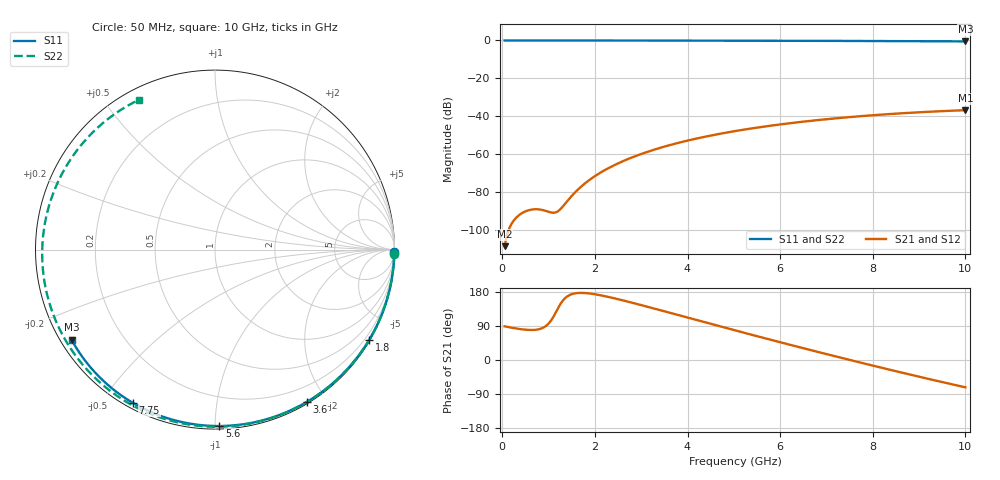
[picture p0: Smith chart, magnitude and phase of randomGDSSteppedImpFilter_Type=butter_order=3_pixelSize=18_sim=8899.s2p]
! freq	dB(S11)	phase(S11)	dB(S12)	phase(S12)
!  dB(S21)	phase(S21)	dB(S22)	phase(S22)
!S-par simulation data
#  GHz  S  DB  R 50
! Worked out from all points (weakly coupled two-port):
!   200 points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, 50 MHz to 10 GHz, reference 50 ohm
!   highest |S21| = -36.75 dB at 10 GHz (marker M1); lowest = -108.4 dB at 50 MHz (marker M2)
!   lowest |S11| = -0.5 dB at 10 GHz (marker M3), VSWR 34.63, Z = 1.56 - j14.4 ohm
!   |S11| at or under -10 dB: nowhere
!   |S22| runs from -0.6 to 0.0 dB; largest |S21 - S12| = 0
!   S11 on the Smith chart (normalised r, x): 50 MHz: open; 1.8 GHz: 0.03, -3.70; 3.6 GHz: 0.02, -1.77; 5.6 GHz: 0.02, -1.02; 7.75 GHz: 0.02, -0.60; 10 GHz: 0.03, -0.29
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0.05  -0.00 -0.8  -108.43 88.8  -108.43 88.8  -0.00 -1.5
0.4  -0.01 -6.8  -91.40 81.3  -91.40 81.3  -0.02 -12.1
0.75  -0.02 -12.7  -88.96 80.2  -88.96 80.2  -0.03 -22.7
1.55  -0.03 -26.1  -80.61 175.4  -80.61 175.4  -0.06 -46.1
1.6  -0.03 -26.9  -79.37 176.4  -79.37 176.4  -0.06 -47.5
1.75  -0.04 -29.4  -76.04 177.0  -76.04 177.0  -0.06 -51.8
1.8  -0.04 -30.2  -75.05 176.6  -75.05 176.6  -0.07 -53.2
2.1  -0.05 -35.1  -69.97 171.3  -69.97 171.3  -0.08 -61.5
2.5  -0.05 -41.6  -64.79 160.5  -64.79 160.5  -0.09 -72.3
2.9  -0.06 -48.0  -60.73 148.1  -60.73 148.1  -0.10 -82.8
3.4  -0.07 -55.9  -56.67 131.8  -56.67 131.8  -0.12 -95.4
3.6  -0.08 -59.0  -55.27 125.2  -55.27 125.2  -0.13 -100.3
4.3  -0.10 -69.6  -51.14 102.1  -51.14 102.1  -0.15 -116.9
5.05  -0.12 -80.7  -47.67 77.4  -47.67 77.4  -0.19 -133.8
5.6  -0.15 -88.6  -45.59 59.7  -45.59 59.7  -0.22 -145.8
6.15  -0.17 -96.3  -43.80 42.1  -43.80 42.1  -0.25 -157.6
6.7  -0.20 -103.9  -42.26 24.9  -42.26 24.9  -0.29 -169.3
7.25  -0.24 -111.4  -40.93 7.9  -40.93 7.9  -0.33 179.1
7.75  -0.27 -118.1  -39.89 -7.3  -39.89 -7.3  -0.38 168.3
8.35  -0.32 -126.0  -38.81 -25.2  -38.81 -25.2  -0.43 155.2
9.15  -0.40 -136.6  -37.66 -48.4  -37.66 -48.4  -0.50 137.1
10  -0.50 -147.9  -36.75 -72.1  -36.75 -72.1  -0.57 116.9
